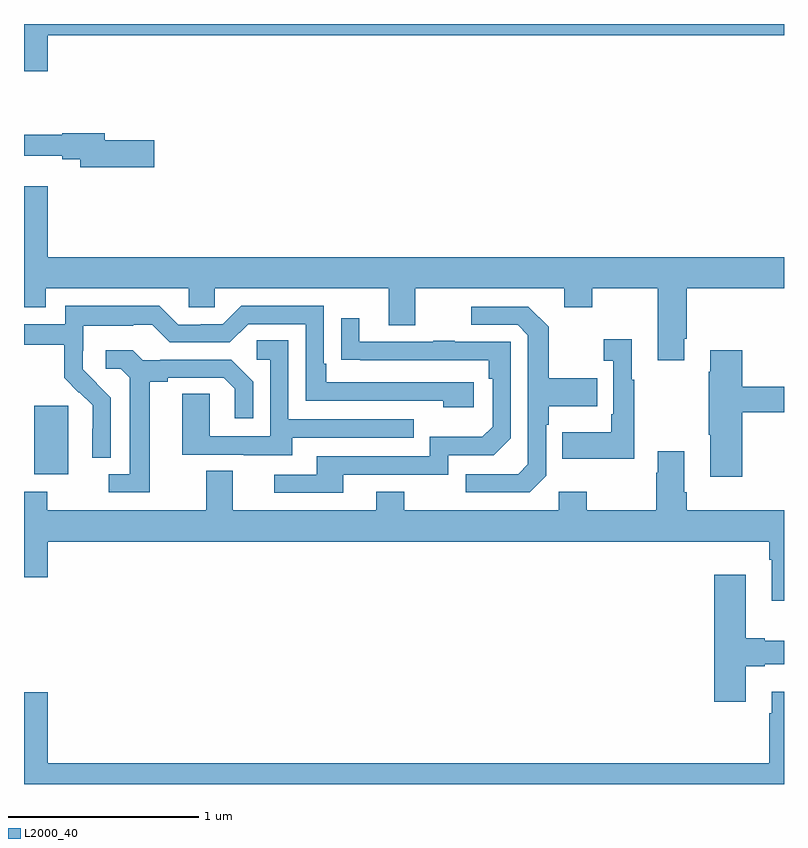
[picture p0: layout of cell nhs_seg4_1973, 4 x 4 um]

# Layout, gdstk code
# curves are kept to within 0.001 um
import gdstk
lib = gdstk.Library(unit=1e-6, precision=1e-09)
def R(c, l, rs):  # rectangles x0, y0, x1, y1
    for r in rs: c.add(gdstk.rectangle(r[:2], r[2:], *l))
def P(c, l, *ps):  # polygons
    for p in ps: c.add(gdstk.Polygon(p, *l))
L2000_40 = (2000, 40)

nhs_seg4_1973 = lib.new_cell('nhs_seg4_1973')
R(nhs_seg4_1973, L2000_40, [(213.053,774.53,213.232,774.891)])
P(nhs_seg4_1973, L2000_40, [(213.124,776.84),(217,776.84),(217,776.9),(213,776.9),(213,776.652),(213.124,776.652)],
  [(213.685,776.288),(213.424,776.288),(213.424,776.324),(213.2,776.324),(213.2,776.317),(213,776.317),(213,776.207),(213.2,776.207),(213.2,776.188),(213.296,776.188),(213.296,776.146),(213.685,776.146)],
  [(216.475,775.243),(216.488,775.243),(216.488,775.508),(217,775.508),(217,775.672),(213.124,775.672),(213.124,776.047),(213,776.047),(213,775.409),(213.115,775.409),(213.115,775.508),(213.867,775.508),(213.867,775.41),(214.005,775.41),(214.005,775.508),(214.919,775.508),(214.919,775.314),(215.059,775.314),(215.059,775.508),(215.843,775.508),(215.843,775.409),(215.991,775.409),(215.991,775.508),(216.335,775.508),(216.335,775.131),(216.475,775.131)],
  [(213.456,774.934),(213.31,775.082),(213.31,775.179),(213.312,775.179),(213.312,775.313),(213.575,775.313),(213.575,775.317),(213.675,775.317),(213.768,775.224),(214.083,775.224),(214.179,775.32),(214.482,775.32),(214.482,774.918),(215.207,774.918),(215.207,774.884),(215.368,774.884),(215.368,775.014),(214.591,775.014),(214.591,775.111),(214.578,775.111),(214.578,775.416),(214.143,775.416),(214.047,775.32),(213.929,775.32),(213.929,775.317),(213.813,775.317),(213.713,775.417),(213.216,775.417),(213.216,775.32),(213,775.32),(213,775.212),(213.211,775.212),(213.211,775.037),(213.288,774.96),(213.291,774.963),(213.362,774.893),(213.362,774.77),(213.36,774.77),(213.36,774.616),(213.456,774.616)],
  [(215.748,774.522),(215.748,774.791),(215.761,774.791),(215.761,774.887),(216.017,774.887),(216.017,775.035),(215.761,775.035),(215.761,775.307),(215.655,775.413),(215.355,775.413),(215.355,775.317),(215.598,775.317),(215.652,775.263),(215.652,774.582),(215.601,774.531),(215.325,774.531),(215.325,774.435),(215.661,774.435)],
  [(214.681,774.528),(215.232,774.528),(215.232,774.63),(215.472,774.63),(215.562,774.72),(215.562,775.227),(215.267,775.227),(215.267,775.232),(215.155,775.232),(215.155,775.227),(214.765,775.227),(214.765,775.351),(214.669,775.351),(214.669,775.132),(215.446,775.131),(215.446,775.034),(215.466,775.034),(215.466,774.78),(215.413,774.727),(215.136,774.727),(215.136,774.624),(214.541,774.624),(214.541,774.528),(214.317,774.528),(214.317,774.432),(214.681,774.432)],
  [(216.211,775.027),(216.199,775.027),(216.199,775.24),(216.051,775.24),(216.051,775.127),(216.102,775.127),(216.102,774.847),(216.09,774.847),(216.09,774.751),(215.833,774.751),(215.833,774.611),(216.211,774.611)],
  [(214.411,774.723),(215.051,774.723),(215.051,774.819),(214.392,774.819),(214.392,775.235),(214.224,775.235),(214.224,775.134),(214.296,775.134),(214.296,774.729),(213.978,774.729),(213.978,774.953),(213.833,774.953),(213.833,774.633),(214.157,774.633),(214.157,774.629),(214.411,774.629)],
  [(213.661,775.016),(213.757,775.016),(213.757,775.038),(214.052,775.038),(214.109,774.981),(214.109,774.825),(214.206,774.825),(214.206,775.018),(214.09,775.134),(213.718,775.134),(213.718,775.131),(213.624,775.131),(213.572,775.183),(213.429,775.183),(213.429,775.086),(213.51,775.086),(213.557,775.039),(213.557,774.531),(213.447,774.531),(213.447,774.435),(213.661,774.435)],
  [(216.779,774.856),(217,774.856),(217,774.992),(216.779,774.992),(216.779,775.183),(216.611,775.183),(216.611,775.07),(216.604,775.07),(216.604,774.739),(216.611,774.739),(216.611,774.516),(216.779,774.516)],
  [(217,774.34),(216.488,774.34),(216.488,774.436),(216.475,774.436),(216.475,774.652),(216.335,774.652),(216.335,774.539),(216.328,774.539),(216.328,774.34),(215.961,774.34),(215.961,774.439),(215.814,774.439),(215.814,774.34),(215.001,774.34),(215.001,774.439),(214.853,774.439),(214.853,774.34),(214.099,774.34),(214.099,774.548),(213.959,774.548),(213.959,774.34),(213.123,774.34),(213.123,774.439),(213,774.439),(213,773.988),(213.124,773.988),(213.124,774.176),(216.923,774.176),(216.923,774.08),(216.935,774.08),(216.935,773.865),(217,773.865)],
  [(216.799,773.519),(216.899,773.519),(216.899,773.531),(217,773.531),(217,773.653),(216.899,773.653),(216.899,773.666),(216.799,773.666),(216.799,774.001),(216.632,774.001),(216.632,773.334),(216.799,773.334)],
  [(213.124,773.383),(213,773.383),(213,772.9),(217,772.9),(217,773.386),(216.935,773.386),(216.935,773.273),(216.923,773.273),(216.923,773.008),(213.124,773.008)])

lib.write_gds('nhs_seg4_1973.gds')
